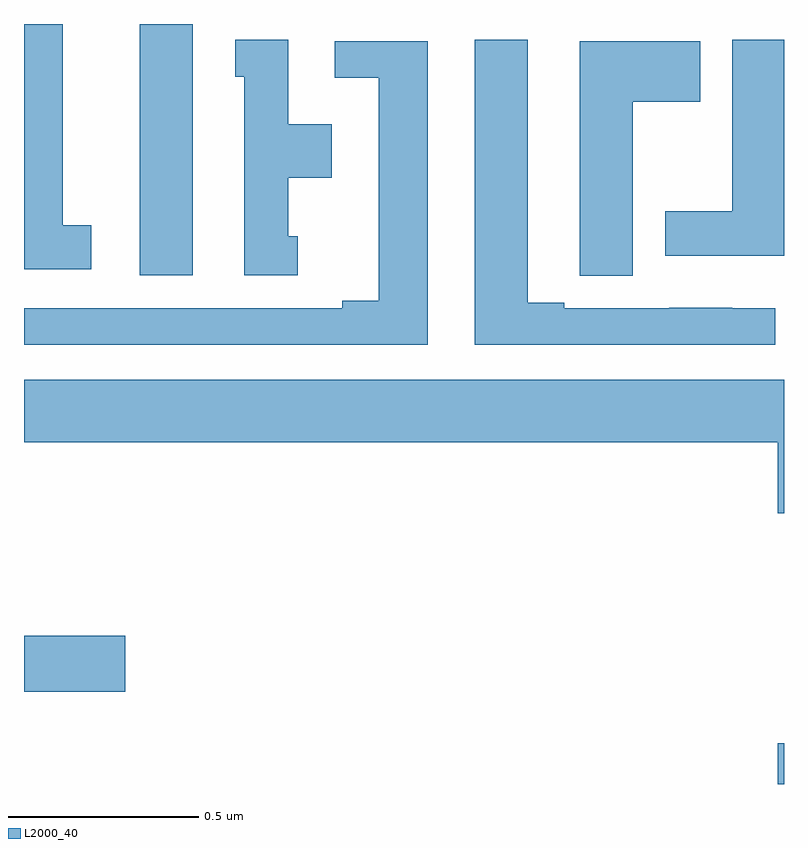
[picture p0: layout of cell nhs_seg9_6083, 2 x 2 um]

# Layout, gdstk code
import gdstk
lib = gdstk.Library(unit=1e-6, precision=1e-09)
def R(c, l, rs):  # rectangles x0, y0, x1, y1
    for r in rs: c.add(gdstk.rectangle(r[:2], r[2:], *l))
def P(c, l, *ps):  # polygons
    for p in ps: c.add(gdstk.Polygon(p, *l))
L2000_40 = (2000, 40)

nhs_seg9_6083 = lib.new_cell('nhs_seg9_6083')
R(nhs_seg9_6083, L2000_40, [(188.984,1215.5,189,1215.607), (187,1215.743,187.267,1215.89), (187.304,1216.839,187.444,1217.5)])
P(nhs_seg9_6083, L2000_40, [(187.177,1216.97),(187.102,1216.97),(187.102,1217.5),(187,1217.5),(187,1216.854),(187.177,1216.854)],
  [(189,1217.459),(188.864,1217.459),(188.864,1217.007),(188.687,1217.007),(188.687,1216.89),(189,1216.89)],
  [(188.977,1216.752),(188.864,1216.752),(188.864,1216.753),(188.698,1216.753),(188.698,1216.752),(188.422,1216.752),(188.422,1216.767),(188.326,1216.767),(188.326,1217.459),(188.186,1217.459),(188.186,1216.656),(188.977,1216.656)],
  [(187.72,1216.941),(187.696,1216.941),(187.696,1217.096),(187.81,1217.096),(187.81,1217.236),(187.696,1217.236),(187.696,1217.459),(187.556,1217.459),(187.556,1217.361),(187.58,1217.361),(187.58,1216.839),(187.72,1216.839)],
  [(188.602,1217.296),(188.779,1217.296),(188.779,1217.455),(188.462,1217.455),(188.462,1216.945),(188.463,1216.945),(188.463,1216.837),(188.602,1216.837)],
  [(188.062,1217.454),(187.818,1217.454),(187.818,1217.358),(187.934,1217.358),(187.934,1216.772),(187.838,1216.772),(187.838,1216.752),(187,1216.752),(187,1216.656),(188.062,1216.656)],
  [(189,1216.564),(187,1216.564),(187,1216.4),(188.984,1216.4),(188.984,1216.212),(189,1216.212)])

lib.write_gds('nhs_seg9_6083.gds')
